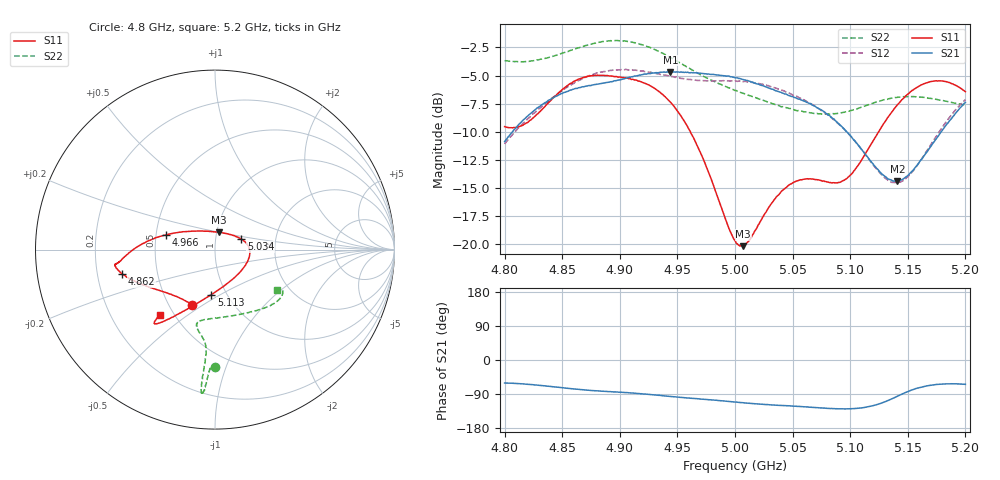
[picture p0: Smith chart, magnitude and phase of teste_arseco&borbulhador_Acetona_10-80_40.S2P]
! Network Analyzer HP8722D
! Hewlett-Packard
! Data name: Linha & Wilkinson
! Saver's name: Rodrigo Anjos
! Comments: Teste da utilização de aquisição
! continua pelo VNA HP8722D
! Time and date: 17/4/2025 14:41
!  Frequency  S11  S21  S12  S22
# HZ  S  MA R 50
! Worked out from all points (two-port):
!   401 points, 4.8 GHz to 5.2 GHz, reference 50 ohm
!   highest |S21| = -4.67 dB at 4.944 GHz (marker M1); lowest = -14.4 dB at 5.141 GHz (marker M2)
!   |S21| within 3 dB of the highest: 4.831 GHz to 5.068 GHz (236.6 MHz wide, 4.78 % of centre); 5.197392 GHz to end of sweep
!   lowest |S11| = -20.2 dB at 5.007 GHz (marker M3), VSWR 1.22, Z = 51 + j9.9 ohm
!   |S11| at or under -10 dB: 4.961 GHz to 5.125 GHz (163.3 MHz wide, 3.24 % of centre)
!   |S22| runs from -8.4 to -1.9 dB; largest |S21 - S12| = 0.88
!   S11 on the Smith chart (normalised r, x): 4.8 GHz: 0.65, -0.45; 4.862 GHz: 0.31, -0.12; 4.966 GHz: 0.57, +0.10; 5.034 GHz: 1.33, +0.16; 5.113 GHz: 0.85, -0.45; 5.2 GHz: 0.42, -0.39
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4.8e9  0.3332 -113.1  0.2857 -60.8  0.2794 -174.9  0.6542 -89.9
4.819e9  0.3464 -133.0  0.3678 -63.9  0.3561 -173.4  0.6505 -91.5
4.84e9  0.4352 -152.4  0.4404 -69.7  0.442 -173.7  0.6809 -92.8
4.862e9  0.5348 -165.4  0.493 -76.8  0.5269 -176.5  0.7415 -93.7
4.867e9  0.5479 -167.4  0.5004 -78.2  0.5425 -177.5  0.7557 -93.9
4.899e9  0.5533 -172.0  0.5367 -85.0  0.5959 175.8  0.8036 -95.2
4.934e9  0.4782 -178.0  0.5794 -93.3  0.5718 172.0  0.7185 -95.7
4.944e9  0.4281 177.5  0.584 -96.2  0.5578 171.8  0.6759 -95.4
4.966e9  0.2831 163.0  0.5782 -101.9  0.536 173.8  0.5826 -94.8
5e9  0.1039 103.0  0.5503 -111.1  0.5324 176.5  0.4826 -99.1
5.007e9  0.09804 78.5  0.5397 -112.7  0.528 176.3  0.4687 -100.8
5.034e9  0.1578 22.0  0.4851 -118.9  0.497 175.0  0.4196 -103.5
5.05e9  0.1873 5.6  0.4536 -121.7  0.4617 174.2  0.3976 -99.7
5.067e9  0.195 -12.5  0.4158 -124.8  0.4182 173.8  0.3831 -90.9
5.093e9  0.1911 -56.8  0.3321 -128.8  0.331 174.0  0.3846 -70.9
5.113e9  0.2514 -94.6  0.2517 -124.9  0.2514 179.5  0.4121 -55.1
5.134e9  0.3739 -115.9  0.1942 -105.4  0.1909 -158.2  0.4439 -43.0
5.141e9  0.4163 -120.0  0.1908 -95.6  0.1877 -147.1  0.4501 -39.9
5.153e9  0.4792 -124.9  0.2093 -79.6  0.207 -129.0  0.4533 -35.7
5.17e9  0.5287 -128.5  0.272 -66.5  0.2773 -112.7  0.4451 -31.8
5.184e9  0.5267 -129.9  0.3428 -63.0  0.3546 -107.2  0.4315 -30.8
5.2e9  0.4766 -130.3  0.427 -64.2  0.4394 -106.3  0.4151 -33.2
